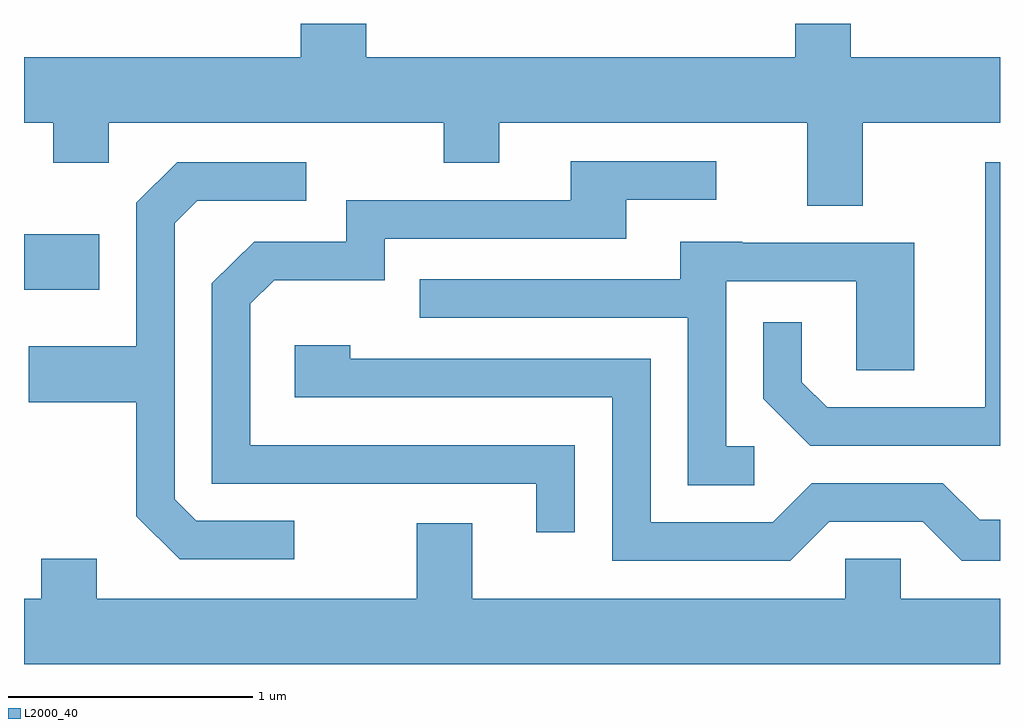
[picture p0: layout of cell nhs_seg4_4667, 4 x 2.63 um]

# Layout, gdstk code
import gdstk
lib = gdstk.Library(unit=1e-6, precision=1e-09)
def R(c, l, rs):  # rectangles x0, y0, x1, y1
    for r in rs: c.add(gdstk.rectangle(r[:2], r[2:], *l))
def P(c, l, *ps):  # polygons
    for p in ps: c.add(gdstk.Polygon(p, *l))
L2000_40 = (2000, 40)

nhs_seg4_4667 = lib.new_cell('nhs_seg4_4667')
R(nhs_seg4_4667, L2000_40, [(321.611,1342.891,321.919,1343.119)])
P(nhs_seg4_4667, L2000_40, [(325.049,1343.576),(325.611,1343.576),(325.611,1343.844),(324.999,1343.844),(324.999,1343.982),(324.771,1343.982),(324.771,1343.844),(323.014,1343.844),(323.014,1343.982),(322.746,1343.982),(322.746,1343.844),(321.611,1343.844),(321.611,1343.576),(321.731,1343.576),(321.731,1343.411),(321.959,1343.411),(321.959,1343.576),(323.331,1343.576),(323.331,1343.411),(323.559,1343.411),(323.559,1343.576),(324.821,1343.576),(324.821,1343.236),(325.049,1343.236)],
  [(323.869,1342.254),(322.539,1342.254),(322.539,1342.834),(322.637,1342.931),(323.089,1342.931),(323.089,1343.101),(324.079,1343.101),(324.079,1343.261),(324.448,1343.261),(324.448,1343.419),(323.851,1343.419),(323.851,1343.259),(322.931,1343.259),(322.931,1343.089),(322.554,1343.089),(322.381,1342.917),(322.381,1342.096),(323.711,1342.096),(323.711,1341.898),(323.869,1341.898)],
  [(325.611,1343.414),(325.551,1343.414),(325.551,1342.409),(324.902,1342.409),(324.799,1342.512),(324.799,1342.758),(324.641,1342.758),(324.641,1342.444),(324.834,1342.251),(325.611,1342.251)],
  [(322.718,1341.944),(322.317,1341.944),(322.229,1342.032),(322.229,1343.164),(322.322,1343.256),(322.768,1343.256),(322.768,1343.414),(322.239,1343.414),(322.071,1343.247),(322.071,1342.659),(321.631,1342.659),(321.631,1342.431),(322.071,1342.431),(322.071,1341.964),(322.249,1341.786),(322.718,1341.786)],
  [(324.603,1342.249),(324.489,1342.249),(324.489,1342.926),(325.021,1342.926),(325.021,1342.561),(325.259,1342.561),(325.259,1343.084),(324.555,1343.084),(324.555,1343.089),(324.301,1343.089),(324.301,1342.934),(323.233,1342.934),(323.233,1342.776),(324.331,1342.776),(324.331,1342.091),(324.603,1342.091)],
  [(324.912,1341.941),(325.294,1341.941),(325.454,1341.781),(325.611,1341.781),(325.611,1341.949),(325.527,1341.949),(325.377,1342.099),(324.839,1342.099),(324.679,1341.939),(324.179,1341.939),(324.179,1342.609),(322.949,1342.609),(322.949,1342.664),(322.721,1342.664),(322.721,1342.451),(324.021,1342.451),(324.021,1341.781),(324.752,1341.781)],
  [(325.611,1341.624),(325.204,1341.624),(325.204,1341.789),(324.976,1341.789),(324.976,1341.624),(323.449,1341.624),(323.449,1341.934),(323.221,1341.934),(323.221,1341.624),(321.909,1341.624),(321.909,1341.789),(321.681,1341.789),(321.681,1341.624),(321.611,1341.624),(321.611,1341.356),(325.611,1341.356)])

lib.write_gds('nhs_seg4_4667.gds')
